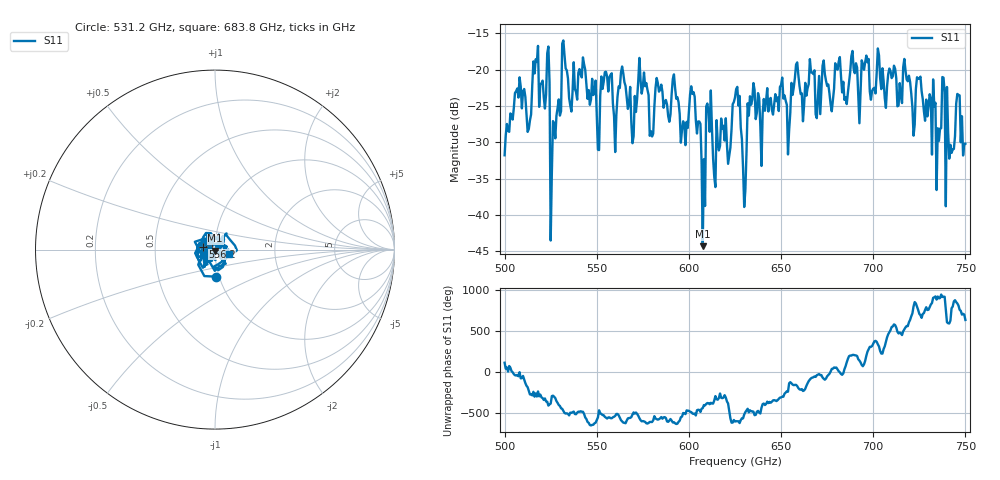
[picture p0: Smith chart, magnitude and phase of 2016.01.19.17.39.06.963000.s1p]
!Created with skrf (http://scikit-rf.org).
# GHz S RI R 50.0
!freq ReS11 ImS11
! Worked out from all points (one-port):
!   401 points, 500 GHz to 750 GHz, reference 50 ohm
!   lowest |S11| = -44.3 dB at 607.5 GHz (marker M1), VSWR 1.01, Z = 50.1 - j0.599 ohm
!   |S11| at or under -10 dB: start of sweep to end of sweep
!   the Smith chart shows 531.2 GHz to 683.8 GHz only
!   S11 on the Smith chart (normalised r, x): 531.2 GHz: 0.97, -0.30; 556.2 GHz: 0.87, +0.03; 683.8 GHz: 1.17, -0.05
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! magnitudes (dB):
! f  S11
! 500 GHz  -31.8
! 507.5 GHz  -23.8
! 513.1 GHz  -28.2
! 516.9 GHz  -18.6
! 523.1 GHz  -17.7
! 526.2 GHz  -27.1
! 531.2 GHz  -16.4
! 550.6 GHz  -31.0
! 556.2 GHz  -23.0
! 560 GHz  -31.3
! 562.5 GHz  -22.5
! 574.4 GHz  -23.3
! 580 GHz  -29.2
! 583.1 GHz  -21.8
! 593.8 GHz  -23.8
! 596.9 GHz  -27.1
! 601.9 GHz  -23.3
! 607.5 GHz  -44.3
! 610.6 GHz  -25.8
! 614.4 GHz  -36.2
! 625 GHz  -23.8
! 630 GHz  -38.9
! 634.4 GHz  -24.1
! 656.2 GHz  -23.5
! 683.8 GHz  -21.7
! 687.5 GHz  -20.3
! 718.8 GHz  -21.6
! 750 GHz  -30.2
